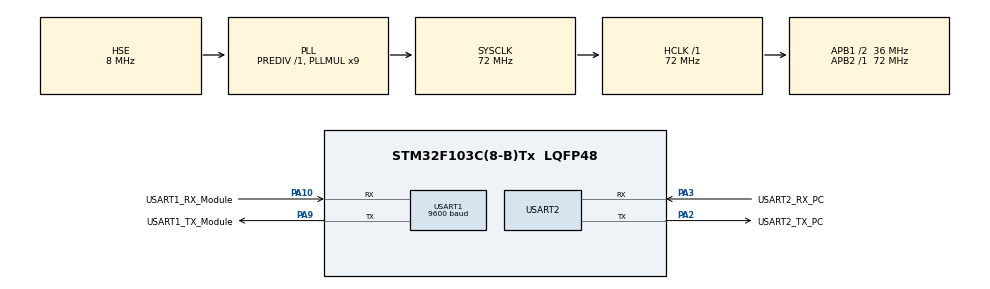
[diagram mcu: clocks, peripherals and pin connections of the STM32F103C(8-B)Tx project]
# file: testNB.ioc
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Dma.Request0=USART1_RX
Dma.Request1=USART1_TX
Dma.USART1_RX.0.Direction=DMA_PERIPH_TO_MEMORY
Dma.USART1_RX.0.Instance=DMA1_Channel5
Dma.USART1_RX.0.MemDataAlignment=DMA_MDATAALIGN_HALFWORD
Dma.USART1_RX.0.MemInc=DMA_MINC_ENABLE
Dma.USART1_RX.0.Mode=DMA_CIRCULAR
Dma.USART1_RX.0.PeriphDataAlignment=DMA_PDATAALIGN_HALFWORD
Dma.USART1_RX.0.PeriphInc=DMA_PINC_DISABLE
Dma.USART1_RX.0.Priority=DMA_PRIORITY_LOW
Dma.USART1_TX.1.Direction=DMA_MEMORY_TO_PERIPH
Dma.USART1_TX.1.Instance=DMA1_Channel4
Dma.USART1_TX.1.MemDataAlignment=DMA_MDATAALIGN_BYTE
Dma.USART1_TX.1.MemInc=DMA_MINC_ENABLE
Dma.USART1_TX.1.Mode=DMA_NORMAL
Dma.USART1_TX.1.PeriphDataAlignment=DMA_PDATAALIGN_BYTE
Dma.USART1_TX.1.PeriphInc=DMA_PINC_DISABLE
Dma.USART1_TX.1.Priority=DMA_PRIORITY_LOW
Mcu.Family=STM32F1
Mcu.Name=STM32F103C(8-B)Tx
Mcu.Package=LQFP48
NVIC.DMA1_Channel4_IRQn=true\:1\:0\:true\:false\:true\:false
NVIC.DMA1_Channel5_IRQn=true\:1\:0\:true\:false\:true\:false
NVIC.PriorityGroup=NVIC_PRIORITYGROUP_4
NVIC.USART1_IRQn=true\:0\:0\:false\:true\:true\:1\:true
NVIC.USART2_IRQn=true\:2\:0\:true\:true\:true\:2\:true
PA10.GPIO_Label=USART1_RX_Module
PA10.Mode=Asynchronous
PA10.Signal=USART1_RX
PA13.Mode=Serial_Wire
PA13.Signal=SYS_JTMS-SWDIO
PA14.Mode=Serial_Wire
PA14.Signal=SYS_JTCK-SWCLK
PA2.GPIO_Label=USART2_TX_PC
PA2.Mode=Asynchronous
PA2.Signal=USART2_TX
PA3.GPIO_Label=USART2_RX_PC
PA3.Mode=Asynchronous
PA3.Signal=USART2_RX
PA9.GPIO_Label=USART1_TX_Module
PA9.Mode=Asynchronous
PA9.Signal=USART1_TX
PC14-OSC32_IN.Mode=LSE-External-Oscillator
PC14-OSC32_IN.Signal=RCC_OSC32_IN
PC15-OSC32_OUT.Mode=LSE-External-Oscillator
PC15-OSC32_OUT.Signal=RCC_OSC32_OUT
PD0-OSC_IN.Mode=HSE-External-Oscillator
PD0-OSC_IN.Signal=RCC_OSC_IN
PD1-OSC_OUT.Mode=HSE-External-Oscillator
PD1-OSC_OUT.Signal=RCC_OSC_OUT
ProjectManager.HeapSize=0x200
ProjectManager.StackSize=0x400
ProjectManager.TargetToolchain=MDK-ARM V5
RCC.AHBFreq_Value=72000000
RCC.APB1CLKDivider=RCC_HCLK_DIV2
RCC.APB1Freq_Value=36000000
RCC.APB1TimFreq_Value=72000000
RCC.APB2Freq_Value=72000000
RCC.APB2TimFreq_Value=72000000
RCC.HCLKFreq_Value=72000000
RCC.PLLMUL=RCC_PLL_MUL9
RCC.PLLSourceVirtual=RCC_PLLSOURCE_HSE
RCC.SYSCLKFreq_VALUE=72000000
RCC.SYSCLKSource=RCC_SYSCLKSOURCE_PLLCLK
RCC.USBFreq_Value=72000000
USART1.BaudRate=9600
USART1.VirtualMode=VM_ASYNC
USART2.VirtualMode=VM_ASYNC
board=testNB

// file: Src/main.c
/**
  ******************************************************************************
  * @file           : main.c
  * @brief          : Main program body
  ******************************************************************************
  ** This notice applies to any and all portions of this file
  * that are not between comment pairs USER CODE BEGIN and
  * USER CODE END. Other portions of this file, whether
  * inserted by the user or by software development tools
  * are owned by their respective copyright owners.
  *
  * COPYRIGHT(c) 2018 STMicroelectronics
  *
  * Redistribution and use in source and binary forms, with or without modification,
  * are permitted provided that the following conditions are met:
  *   1. Redistributions of source code must retain the above copyright notice,
  *      this list of conditions and the following disclaimer.
  *   2. Redistributions in binary form must reproduce the above copyright notice,
  *      this list of conditions and the following disclaimer in the documentation
  *      and/or other materials provided with the distribution.
  *   3. Neither the name of STMicroelectronics nor the names of its contributors
  *      may be used to endorse or promote products derived from this software
  *      without specific prior written permission.
  *
  * THIS SOFTWARE IS PROVIDED BY THE COPYRIGHT HOLDERS AND CONTRIBUTORS "AS IS"
  * AND ANY EXPRESS OR IMPLIED WARRANTIES, INCLUDING, BUT NOT LIMITED TO, THE
  * IMPLIED WARRANTIES OF MERCHANTABILITY AND FITNESS FOR A PARTICULAR PURPOSE ARE
  * DISCLAIMED. IN NO EVENT SHALL THE COPYRIGHT HOLDER OR CONTRIBUTORS BE LIABLE
  * FOR ANY DIRECT, INDIRECT, INCIDENTAL, SPECIAL, EXEMPLARY, OR CONSEQUENTIAL
  * DAMAGES (INCLUDING, BUT NOT LIMITED TO, PROCUREMENT OF SUBSTITUTE GOODS OR
  * SERVICES; LOSS OF USE, DATA, OR PROFITS; OR BUSINESS INTERRUPTION) HOWEVER
  * CAUSED AND ON ANY THEORY OF LIABILITY, WHETHER IN CONTRACT, STRICT LIABILITY,
  * OR TORT (INCLUDING NEGLIGENCE OR OTHERWISE) ARISING IN ANY WAY OUT OF THE USE
  * OF THIS SOFTWARE, EVEN IF ADVISED OF THE POSSIBILITY OF SUCH DAMAGE.
  *
  ******************************************************************************
  */
#include "main.h"
#include "stm32f1xx_hal.h"
#include "dma.h"
#include "usart.h"
#include "gpio.h"

/* USER CODE BEGIN Includes */
#include "NBBC95.h"
#include "NBBC95_cfg.h"
#include "uartTimerPoll.h"
#include "stdint.h"
/* USER CODE END Includes */

/* USER CODE BEGIN PV */
/* Private variables ---------------------------------------------------------*/
typedef enum {
    NB_NONE,
    NB_Init,
    NB_Module,
    NB_SIGN,
    NB_UDP_Create,
    NB_UDP_REG,
    NB_UDP_Send,
    NB_UDP_Read,
    NB_UDP_Close,
    NB_Coap_Server,
    NB_Coap_Send,
    NB_Coap_Read,
    NB_Reset,
    NB_END
}NB_State;

uint8_t* NB_MODULE_IMEI = NULL;

//记录NB模块流程
uint8_t processRecord = 0;

#define NB_PROCESS_INIT             0X01
#define NB_PROCESS_UDP_CREATE       0x02
#define NB_PROCESS_UDP_REG          0x04
#define NB_PROCESS_COAP_SERVER      0x08

volatile NB_State nb_state = NB_NONE;
int NB_MsgreportCallback(msg_type, int, char*);
void readNBStateFromUart(void);
uint8_t receBufferPC[1];
/* USER CODE END PV */

void SystemClock_Config(void);
static void MX_NVIC_Init(void);

/* USER CODE BEGIN PFP */
/* Private function prototypes -----------------------------------------------*/

/* USER CODE END PFP */

int main(void)
{

  /* MCU Configuration----------------------------------------------------------*/

  /* Reset of all peripherals, Initializes the Flash interface and the Systick. */
  HAL_Init();

  /* Configure the system clock */
  SystemClock_Config();

  /* Initialize all configured peripherals */
  MX_GPIO_Init();
  MX_DMA_Init();
  MX_USART1_UART_Init();
  MX_USART2_UART_Init();

  /* Initialize interrupts */
  MX_NVIC_Init();
  /* USER CODE BEGIN 2 */
    openNBModule(&bc95_cfg);
    nb_state = NB_NONE;
    HAL_UART_Receive_IT(&huart2, (uint8_t*)receBufferPC, 1);
  /* USER CODE END 2 */

  /* Infinite loop */
  while (1)
  {

  /* USER CODE BEGIN 3 */
      //HAL_UART_Transmit_DMA(&huart1, (uint8_t*)"test", 4);
      //HAL_USART_Write((uint8_t*)"AT\r\n", 4);
    HAL_USART_Poll();
    bc95Main(&bc95_cfg);
    TimerPoll();

    switch(nb_state) {
        case NB_NONE:
            break;
        case NB_Init: {
            printf("\r\n BC95 Module is initializing...");
            processRecord = 0;
            initNBModule(&bc95_cfg);
            nb_state = NB_END;
            break;
        }
        case NB_SIGN: {
            printf("\r\n BC95 Module sign state:");
            SignNBModule(&bc95_cfg);
            nb_state = NB_END;
            break;
        }
        case NB_Module: {
            printf("\r\n BC95 Module info:");
            getModuleInfoNBModule(&bc95_cfg);
            nb_state = NB_END;
            break;
        }
        case NB_UDP_Create: {
            printf("\r\n BC95 Module Create UDP server");
            createUDPServerNBModule(&bc95_cfg);
            nb_state = NB_END;
            break;
        }
        case NB_UDP_REG: {
            //发送注册包
            printf("\r\n  BC95 Module register to Cloud");
            char regPacket[30];
            uint8_t msgLen = 0;

            msgLen = sprintf(regPacket, "ID=GSnr84I0cLCzeHJ&pwd=testpwdNB123");
            regPacket[msgLen] = 0;
            sendToUdpNBModule(&bc95_cfg, msgLen, regPacket);
            processRecord |= NB_PROCESS_UDP_REG;
            nb_state = NB_END;
        }
        case NB_UDP_Send: {
            printf("\r\n BC95 Module Send Messsage to UDP Server");
            //char* userPacket = "test\r\n";
            sendToUdpNBModule(&bc95_cfg, 10, "testupUDP");
            nb_state = NB_END;
            break;
        }
        case NB_UDP_Read: {
            printf("\r\n BC95 Module is initializing...");
            recFromUdp_bc95(&bc95_cfg);
            nb_state = NB_END;
            break;
        }
        case NB_UDP_Close: {
            printf("\r\n BC95 Module close UDP server");
            closeUdpNBModule(&bc95_cfg);
            nb_state = NB_END;
            break;
        }
        case NB_Coap_Server: {
            printf("\r\n BC95 Module is Creating Coap server...");
            coapServerNBModule(&bc95_cfg, 1, NULL);
            nb_state = NB_END;
            break;
        }
        case NB_Coap_Read: {
            printf("\r\n BC95 Module is initializing...");
            initbc95(&bc95_cfg);
            nb_state = NB_END;
            break;
        }
        case NB_Coap_Send: {
            printf("\r\n BC95 Module is Sending msg using Coap Server...");
            coapSentMsgNBModule(&bc95_cfg, sizeof("testCoap"), "testCoap");
            nb_state = NB_END;
            break;
        }

        case NB_Reset: {
            printf("\r\n BC95 Module is initializing...");
            initNBModule(&bc95_cfg);
            nb_state = NB_END;
            break;
        }
        default:
            break;
    }
  }
  /* USER CODE END 3 */

}

void SystemClock_Config(void)
{

  RCC_OscInitTypeDef RCC_OscInitStruct;
  RCC_ClkInitTypeDef RCC_ClkInitStruct;

    /**Initializes the CPU, AHB and APB busses clocks
    */
  RCC_OscInitStruct.OscillatorType = RCC_OSCILLATORTYPE_HSE;
  RCC_OscInitStruct.HSEState = RCC_HSE_ON;
  RCC_OscInitStruct.HSEPredivValue = RCC_HSE_PREDIV_DIV1;
  RCC_OscInitStruct.HSIState = RCC_HSI_ON;
  RCC_OscInitStruct.PLL.PLLState = RCC_PLL_ON;
  RCC_OscInitStruct.PLL.PLLSource = RCC_PLLSOURCE_HSE;
  RCC_OscInitStruct.PLL.PLLMUL = RCC_PLL_MUL9;
  if (HAL_RCC_OscConfig(&RCC_OscInitStruct) != HAL_OK)
  {
    _Error_Handler(__FILE__, __LINE__);
  }

    /**Initializes the CPU, AHB and APB busses clocks
    */
  RCC_ClkInitStruct.ClockType = RCC_CLOCKTYPE_HCLK|RCC_CLOCKTYPE_SYSCLK
                              |RCC_CLOCKTYPE_PCLK1|RCC_CLOCKTYPE_PCLK2;
  RCC_ClkInitStruct.SYSCLKSource = RCC_SYSCLKSOURCE_PLLCLK;
  RCC_ClkInitStruct.AHBCLKDivider = RCC_SYSCLK_DIV1;
  RCC_ClkInitStruct.APB1CLKDivider = RCC_HCLK_DIV2;
  RCC_ClkInitStruct.APB2CLKDivider = RCC_HCLK_DIV1;

  if (HAL_RCC_ClockConfig(&RCC_ClkInitStruct, FLASH_LATENCY_2) != HAL_OK)
  {
    _Error_Handler(__FILE__, __LINE__);
  }

    /**Configure the Systick interrupt time
    */
  HAL_SYSTICK_Config(HAL_RCC_GetHCLKFreq()/1000);

    /**Configure the Systick
    */
  HAL_SYSTICK_CLKSourceConfig(SYSTICK_CLKSOURCE_HCLK);

  /* SysTick_IRQn interrupt configuration */
  HAL_NVIC_SetPriority(SysTick_IRQn, 0, 0);
}

/**
  * @brief NVIC Configuration.
  * @retval None
  */
static void MX_NVIC_Init(void)
{
  /* USART1_IRQn interrupt configuration */
  HAL_NVIC_SetPriority(USART1_IRQn, 0, 0);
  HAL_NVIC_EnableIRQ(USART1_IRQn);
  /* USART2_IRQn interrupt configuration */
  HAL_NVIC_SetPriority(USART2_IRQn, 2, 0);
  HAL_NVIC_EnableIRQ(USART2_IRQn);
}

/* USER CODE BEGIN 4 */
int NB_MsgreportCallback(msg_type mType, int len, char* msg)
{
    //printf("\r\nmsg:%s", msg);
    switch(mType) {
        case MSG_INIT:
            printf("\r\nInit:%s", msg);
            if (*msg == 'S') {
                printf("\r\n初始化成功");
                processRecord |= NB_PROCESS_INIT;
                //nb_state = NB_UDP_Create;
            }
            break;
        case MSG_IMSI:
            printf("\r\nIMSI:%s", msg);
            break;
        case MSG_IMEI:
            printf("\r\nIMEI:%s", msg);
            NB_MODULE_IMEI = (uint8_t*)msg;
            break;
        case MSG_SIGN:
            printf("\r\nSIGN:%s", msg);
            break;
        case MSG_DEVID:
            printf("\r\nDEVID:%s", msg);
            break;
        case MSG_MANUINFO:
            printf("\r\nMANUINFO:%s", msg);
            break;
        case MSG_REGISTER:
            printf("\r\nREGISTER:%s", msg);
            break;
        case MSG_UDP_CREATE:
            printf("\r\nUDP Create:%s", msg);
            if (*msg == 'S'){
                printf("\r\nUDP初始化成功");
                processRecord |= NB_PROCESS_UDP_CREATE;
                nb_state = NB_UDP_Send;
            }
            break;
        case MSG_UDP_SEND:
            printf("\r\nUDP Send:%s", msg);
            if (*msg == 'S'){
                printf("\r\nUDP发送数据成功");
                //如果需要接收数据则继续调用接受函数recFromUdp_bc95，发送接受指令
            }
            break;
        case MSG_UDP_RECE:
            printf("\r\nUDP Receive:%s", msg);
            if (*msg == 'S'){
                printf("\r\nUDP接收数据成功");
            }
            break;
        case MSG_UDP_CLOSE:
            printf("\r\nUDP Close:%s", msg);
            if (*msg == 'S'){
                printf("\r\nUDP关闭");
                processRecord &= ~NB_PROCESS_UDP_CREATE;
            }
            break;
        case MSG_COAP:
            printf("\r\nCoap Create:%s", msg);
            if (*msg == 'S'){
                printf("\r\nUDP初始化成功");
                processRecord |= NB_PROCESS_COAP_SERVER;
            }
            break;
        case MSG_COAP_SEND:
            printf("\r\nCoap Send:%s", msg);
            if (*msg == 'S'){
                printf("\r\nCoap发送数据成功");
                //如果需要接收数据则继续调用接受函数recFromCoap_bc95，发送接受指令
            }
            break;
        default:
            break;
    }
    return 0;
}

void HAL_UART_RxCpltCallback(UART_HandleTypeDef *huart)
{
    UNUSED(huart);
    //printf("recevied");
    //HAL_UART_Transmit_IT(&huart2, (uint8_t *)receBufferPC, 1);
    //HAL_Delay(10);
    if (huart == &huart2) {
        readNBStateFromUart();
        receBufferPC[0] = 0x00;
        HAL_UART_Receive_IT(&huart2, (uint8_t*)receBufferPC, 1);

    }
}

void readNBStateFromUart(void)
{
    if (receBufferPC[0] == '1') {
        nb_state = NB_Init;
    }
    else if (receBufferPC[0] == '2') {
        if (processRecord & NB_PROCESS_INIT)
            //nb_state = NB_SIGN;
            nb_state = NB_Module;
    }

    else if (receBufferPC[0] == '3') {
        if (processRecord & NB_PROCESS_INIT)
            //nb_state = NB_Module;
            nb_state = NB_UDP_Create;
    }
    else if (receBufferPC[0] == '4') {
        if (processRecord & NB_PROCESS_INIT) {
            if (processRecord & NB_PROCESS_UDP_CREATE)
                nb_state = NB_UDP_REG;
        }
            //nb_state = NB_UDP_Create;

    }
    else if (receBufferPC[0] == '5') {
        if (processRecord & NB_PROCESS_INIT) {
            if (processRecord & NB_PROCESS_UDP_CREATE) {
                if (processRecord & NB_PROCESS_UDP_REG)
                    nb_state = NB_UDP_Send;
            }

        }
    }
    else if (receBufferPC[0] == '6')
        nb_state = NB_UDP_Read;
    else if (receBufferPC[0] == '7')
        nb_state = NB_UDP_Close;
    else if (receBufferPC[0] == '8') {
        if (processRecord & NB_PROCESS_INIT)
            //if (!(processRecord & NB_Coap_Server))
            nb_state = NB_Coap_Server;
    }
    else if (receBufferPC[0] == '9') {
        if (processRecord & NB_Coap_Server)
            nb_state = NB_Coap_Send;
    }
}

/* USER CODE END 4 */

void _Error_Handler(char *file, int line)
{
  while(1)
  {
  }
}

/************************ (C) COPYRIGHT STMicroelectronics *****END OF FILE****/
